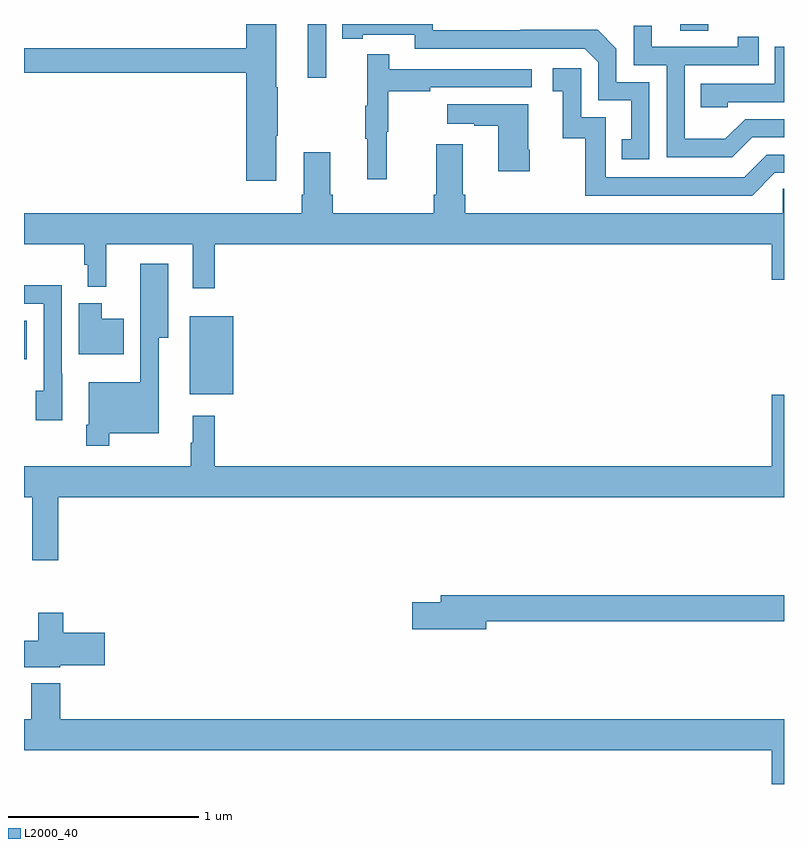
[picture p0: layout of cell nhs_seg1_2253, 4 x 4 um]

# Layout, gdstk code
import gdstk
lib = gdstk.Library(unit=1e-6, precision=1e-09)
def R(c, l, rs):  # rectangles x0, y0, x1, y1
    for r in rs: c.add(gdstk.rectangle(r[:2], r[2:], *l))
def P(c, l, *ps):  # polygons
    for p in ps: c.add(gdstk.Polygon(p, *l))
L2000_40 = (2000, 40)

nhs_seg1_2253 = lib.new_cell('nhs_seg1_2253')
R(nhs_seg1_2253, L2000_40, [(233.873,576.251,234.1,576.661), (233,576.434,233.014,576.637), (234.494,577.917,234.591,578.199), (236.453,578.164,236.601,578.199)])
P(nhs_seg1_2253, L2000_40, [(236.292,577.893),(236.118,577.893),(236.118,578.07),(236.02,578.168),(235.612,578.168),(235.612,578.166),(235.152,578.166),(235.152,578.199),(234.676,578.199),(234.676,578.122),(234.784,578.122),(234.784,578.142),(235.056,578.142),(235.056,578.07),(235.95,578.07),(236.022,577.998),(236.022,577.797),(236.195,577.797),(236.195,577.593),(236.146,577.593),(236.146,577.488),(236.292,577.488)],
  [(234.328,577.612),(234.336,577.612),(234.336,577.865),(234.328,577.865),(234.328,578.199),(234.17,578.199),(234.17,578.071),(233,578.071),(233,577.942),(234.17,577.942),(234.17,577.374),(234.328,577.374)],
  [(236.833,577.602),(237,577.602),(237,577.698),(236.796,577.698),(236.692,577.594),(236.478,577.594),(236.478,577.983),(236.867,577.983),(236.867,578.131),(236.756,578.131),(236.756,578.079),(236.305,578.079),(236.305,578.191),(236.208,578.191),(236.208,577.983),(236.382,577.983),(236.382,577.497),(236.728,577.497)],
  [(236.703,577.788),(237,577.788),(237,578.079),(236.952,578.079),(236.952,577.884),(236.563,577.884),(236.563,577.761),(236.703,577.761)],
  [(234.908,577.632),(234.916,577.632),(234.916,577.846),(235.139,577.846),(235.139,577.866),(235.672,577.866),(235.672,577.962),(234.923,577.962),(234.923,578.041),(234.806,578.041),(234.806,577.769),(234.795,577.769),(234.795,577.595),(234.806,577.595),(234.806,577.383),(234.908,577.383)],
  [(236.952,577.416),(237,577.416),(237,577.512),(236.91,577.512),(236.79,577.392),(236.061,577.392),(236.061,577.707),(235.932,577.707),(235.932,577.966),(235.782,577.966),(235.782,577.845),(235.835,577.845),(235.835,577.599),(235.953,577.599),(235.953,577.296),(236.832,577.296)],
  [(235.662,577.537),(235.654,577.537),(235.654,577.777),(235.227,577.777),(235.227,577.673),(235.37,577.673),(235.37,577.663),(235.496,577.663),(235.496,577.425),(235.662,577.425)],
  [(234.005,577.04),(236.936,577.04),(236.936,576.852),(237,576.852),(237,577.331),(236.994,577.331),(236.994,577.204),(235.322,577.204),(235.322,577.3),(235.309,577.3),(235.309,577.567),(235.169,577.567),(235.169,577.3),(235.157,577.3),(235.157,577.204),(234.626,577.204),(234.626,577.3),(234.613,577.3),(234.613,577.525),(234.473,577.525),(234.473,577.3),(234.461,577.3),(234.461,577.204),(233,577.204),(233,577.04),(233.317,577.04),(233.317,576.933),(233.336,576.933),(233.336,576.815),(233.434,576.815),(233.434,577.04),(233.888,577.04),(233.888,576.807),(234.005,576.807)],
  [(233.449,576.044),(233.71,576.044),(233.71,576.548),(233.758,576.548),(233.758,576.937),(233.612,576.937),(233.612,576.313),(233.34,576.313),(233.34,576.091),(233.328,576.091),(233.328,575.979),(233.449,575.979)],
  [(233.2,576.358),(233.199,576.358),(233.199,576.824),(233,576.824),(233,576.726),(233.103,576.726),(233.103,576.27),(233.063,576.27),(233.063,576.114),(233.2,576.114)],
  [(233.524,576.649),(233.41,576.649),(233.41,576.73),(233.288,576.73),(233.288,576.461),(233.524,576.461)],
  [(233.18,575.708),(237,575.708),(237,576.247),(236.936,576.247),(236.936,575.872),(234.005,575.872),(234.005,576.136),(233.888,576.136),(233.888,575.996),(233.877,575.996),(233.877,575.872),(233,575.872),(233,575.708),(233.044,575.708),(233.044,575.376),(233.18,575.376)],
  [(235.432,575.056),(237,575.056),(237,575.192),(235.193,575.192),(235.193,575.156),(235.044,575.156),(235.044,575.014),(235.432,575.014)],
  [(233.19,574.823),(233.425,574.823),(233.425,574.994),(233.207,574.994),(233.207,575.101),(233.075,575.101),(233.075,574.952),(233,574.952),(233,574.814),(233.19,574.814)],
  [(237,574.54),(233.192,574.54),(233.192,574.729),(233.039,574.729),(233.039,574.54),(233,574.54),(233,574.376),(236.936,574.376),(236.936,574.199),(237,574.199)])

lib.write_gds('nhs_seg1_2253.gds')
